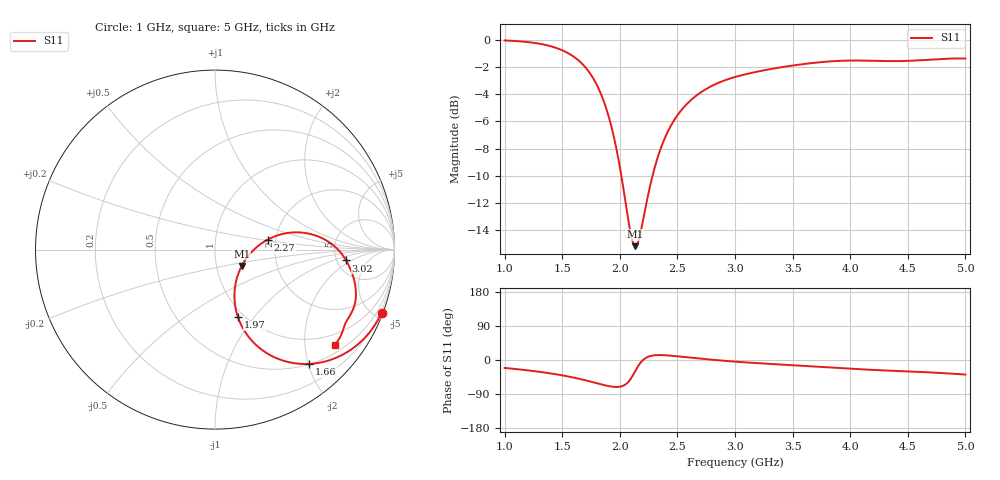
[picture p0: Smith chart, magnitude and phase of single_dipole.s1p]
! Touchstone file from project dipole1
! Exported from HFSS 15.0.0
! Variables:
!  dipole_length = 62.5mm
!  gap = 0.625mm
!  spacing = 12.5mm
!  thick = 1.25mm
!  wavelength = 125mm
# GHZ S MA R 50.000000
! Modal data exported
! Port[1] = 1:1
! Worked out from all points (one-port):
!   401 points, 1 GHz to 5 GHz, reference 50 ohm
!   lowest |S11| = -15.2 dB at 2.13 GHz (marker M1), VSWR 1.42, Z = 66.1 - j12.5 ohm
!   |S11| at or under -10 dB: 2.014 GHz to 2.284 GHz (270.2 MHz wide, 12.6 % of centre)
!   S11 on the Smith chart (normalised r, x): 1 GHz: 0.11, -5.42; 1.66 GHz: 0.50, -2.02; 1.97 GHz: 0.93, -0.84; 2.27 GHz: 1.82, +0.22; 3.02 GHz: 6.07, -1.59; 5 GHz: 0.70, -2.71
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1  0.993 -20.9
! Gamma ! 0 0
! Port Impedance 50 0
1.14  0.9852 -25.2
1.28  0.9697 -30.2
1.39  0.9482 -35.0
1.5  0.914 -40.5
1.66  0.8256 -50.5
1.74  0.7537 -56.5
1.82  0.6555 -62.8
1.9  0.5284 -68.7
1.97  0.3988 -71.2
2  0.3417 -70.5
2.09  0.1986 -51.8
2.11  0.182 -42.4
2.13  0.1746 -31.6
2.15  0.177 -20.7
2.17  0.1879 -11.1
2.27  0.2993 10.8
2.37  0.4142 12.9
2.5  0.5275 9.8
2.61  0.596 6.3
2.73  0.6513 2.7
3  0.7292 -4.3
3.02  0.7332 -4.7
3.5  0.8034 -13.9
4  0.838 -22.9
4.5  0.8357 -30.0
4.78  0.8487 -34.1
5  0.8525 -38.4
